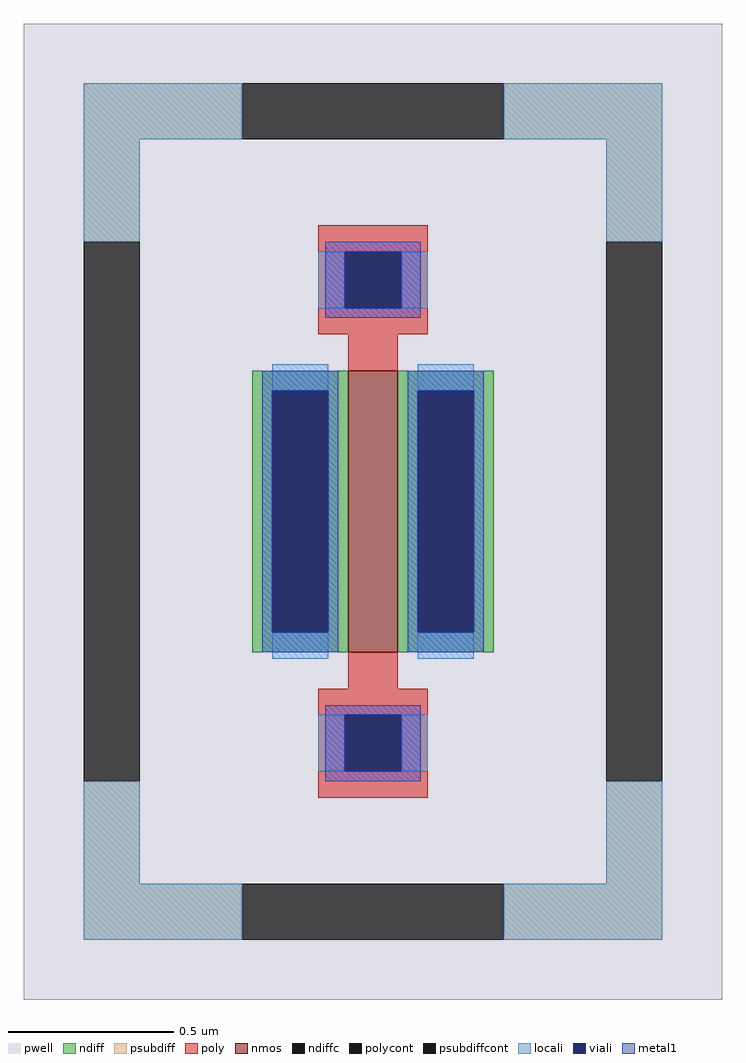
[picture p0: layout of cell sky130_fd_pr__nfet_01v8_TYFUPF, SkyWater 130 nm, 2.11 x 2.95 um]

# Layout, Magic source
magic
tech sky130A
magscale 1 2
<< pwell >>
rect -211 -295 211 295
<< nmos >>
rect -15 -85 15 85
<< ndiff >>
rect -73 73 -15 85
rect -73 -73 -61 73
rect -27 -73 -15 73
rect -73 -85 -15 -73
rect 15 73 73 85
rect 15 -73 27 73
rect 61 -73 73 73
rect 15 -85 73 -73
<< ndiffc >>
rect -61 -73 -27 73
rect 27 -73 61 73
<< psubdiff >>
rect -175 225 -79 259
rect 79 225 175 259
rect -175 163 -141 225
rect 141 163 175 225
rect -175 -225 -141 -163
rect 141 -225 175 -163
rect -175 -259 -79 -225
rect 79 -259 175 -225
<< psubdiffcont >>
rect -79 225 79 259
rect -175 -163 -141 163
rect 141 -163 175 163
rect -79 -259 79 -225
<< poly >>
rect -33 157 33 173
rect -33 123 -17 157
rect 17 123 33 157
rect -33 107 33 123
rect -15 85 15 107
rect -15 -107 15 -85
rect -33 -123 33 -107
rect -33 -157 -17 -123
rect 17 -157 33 -123
rect -33 -173 33 -157
<< polycont >>
rect -17 123 17 157
rect -17 -157 17 -123
<< locali >>
rect -175 225 -79 259
rect 79 225 175 259
rect -175 163 -141 225
rect 141 163 175 225
rect -33 123 -17 157
rect 17 123 33 157
rect -61 73 -27 89
rect -61 -89 -27 -73
rect 27 73 61 89
rect 27 -89 61 -73
rect -33 -157 -17 -123
rect 17 -157 33 -123
rect -175 -225 -141 -163
rect 141 -225 175 -163
rect -175 -259 -79 -225
rect 79 -259 175 -225
<< viali >>
rect -17 123 17 157
rect -61 -73 -27 73
rect 27 -73 61 73
rect -17 -157 17 -123
<< metal1 >>
rect -29 157 29 163
rect -29 123 -17 157
rect 17 123 29 157
rect -29 117 29 123
rect -67 73 -21 85
rect -67 -73 -61 73
rect -27 -73 -21 73
rect -67 -85 -21 -73
rect 21 73 67 85
rect 21 -73 27 73
rect 61 -73 67 73
rect 21 -85 67 -73
rect -29 -123 29 -117
rect -29 -157 -17 -123
rect 17 -157 29 -123
rect -29 -163 29 -157
<< properties >>
string FIXED_BBOX -158 -242 158 242
string gencell sky130_fd_pr__nfet_01v8
string library sky130
string parameters w 0.85 l 0.15 m 1 nf 1 diffcov 100 polycov 100 guard 1 glc 1 grc 1 gtc 1 gbc 1 tbcov 100 rlcov 100 topc 1 botc 1 poverlap 0 doverlap 1 lmin 0.15 wmin 0.42 class mosfet compatible {sky130_fd_pr__nfet_01v8 sky130_fd_pr__nfet_01v8_lvt  sky130_fd_bs_flash__special_sonosfet_star  sky130_fd_pr__nfet_g5v0d10v5 sky130_fd_pr__nfet_05v0_nvt  sky130_fd_pr__nfet_03v3_nvt} full_metal 1 viasrc 100 viadrn 100 viagate 100 viagb 0 viagr 0 viagl 0 viagt 0
<< end >>
